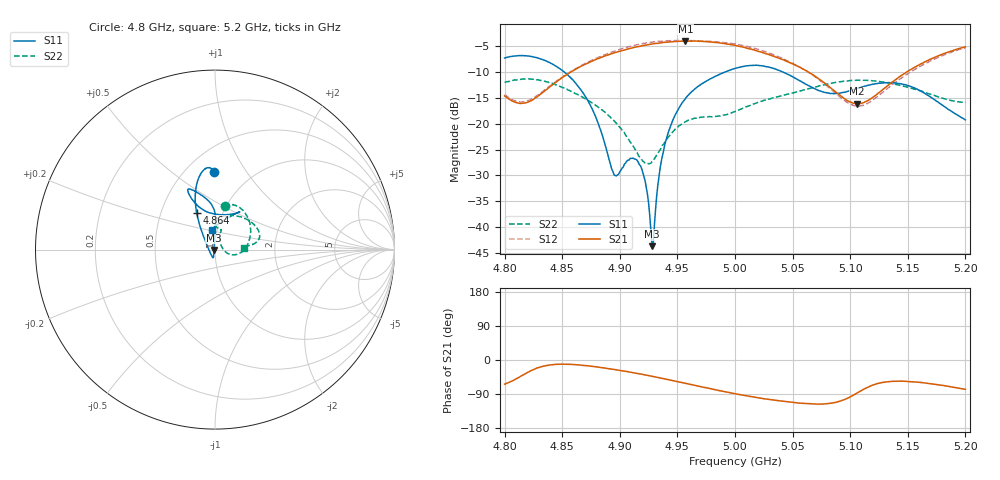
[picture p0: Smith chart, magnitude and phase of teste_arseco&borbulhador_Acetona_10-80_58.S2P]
! Network Analyzer HP8722D
! Hewlett-Packard
! Data name: Linha & Wilkinson
! Saver's name: Rodrigo Anjos
! Comments: Teste da utilização de aquisição
! continua pelo VNA HP8722D
! Time and date: 25/4/2025 15:45
!  Frequency  S11  S21  S12  S22
# HZ  S  MA R 50
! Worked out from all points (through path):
!   401 points, 4.8 GHz to 5.2 GHz, reference 50 ohm
!   highest |S21| = -3.96 dB at 4.957 GHz (marker M1); lowest = -16.1 dB at 5.106 GHz (marker M2)
!   lowest |S11| = -43.7 dB at 4.928 GHz (marker M3), VSWR 1.01, Z = 49.4 - j0.251 ohm
!   |S11| at or under -10 dB: 4.852 GHz to 4.991 GHz (139.2 MHz wide, 2.83 % of centre); 5.042 GHz to end of sweep
!   |S22| runs from -27.8 to -11.3 dB; largest |S21 - S12| = 1.2
!   S11 on the Smith chart (normalised r, x): 4.8 GHz: 0.68, +0.73; 4.864 GHz: 0.75, +0.33; 5.2 GHz: 0.94, +0.20
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4.8e9  0.434 90.5  0.1867 -63.9  0.1911 69.7  0.2513 77.7
4.82e9  0.4528 96.8  0.1618 -32.5  0.1674 98.3  0.272 61.9
4.843e9  0.3715 106.1  0.2458 -12.0  0.2492 118.8  0.2436 36.6
4.864e9  0.2303 116.3  0.3501 -13.0  0.3528 121.1  0.1907 12.0
4.867e9  0.2072 118.0  0.3643 -14.0  0.368 120.6  0.1828 8.5
4.88e9  0.1098 128.4  0.4238 -18.3  0.4336 118.2  0.1486 -5.4
4.895e9  0.03204 -171.2  0.4873 -24.8  0.5025 113.7  0.1068 -16.0
4.909e9  0.04622 -106.1  0.5368 -32.0  0.5622 107.6  0.06661 -14.9
4.917e9  0.04019 -100.7  0.5621 -36.4  0.5889 103.4  0.04795 -1.7
4.923e9  0.02415 -106.1  0.5799 -39.8  0.6083 99.9  0.04118 19.8
4.928e9  0.006523 -157.1  0.5922 -43.2  0.6183 97.0  0.04304 40.3
4.93e9  0.01028 126.3  0.5977 -44.2  0.6214 95.7  0.04573 48.3
4.934e9  0.031 98.4  0.6046 -46.9  0.631 93.3  0.05398 58.2
4.943e9  0.0882 90.4  0.6202 -52.5  0.638 87.4  0.0763 69.5
4.957e9  0.176 89.1  0.6337 -61.6  0.6413 78.6  0.1049 71.6
5e9  0.3444 109.0  0.5752 -89.0  0.5946 50.7  0.1318 88.6
5.03e9  0.3523 115.1  0.4658 -104.3  0.4816 33.8  0.174 85.5
5.067e9  0.2247 105.0  0.302 -116.0  0.299 23.5  0.2222 57.2
5.106e9  0.2189 63.9  0.1563 -87.0  0.1486 55.9  0.2632 24.8
5.134e9  0.2505 56.8  0.2411 -56.8  0.2269 88.6  0.2479 12.4
5.169e9  0.184 69.4  0.4196 -62.0  0.4031 84.8  0.1943 6.8
5.2e9  0.1091 100.2  0.5552 -77.6  0.5468 70.2  0.1609 3.9
